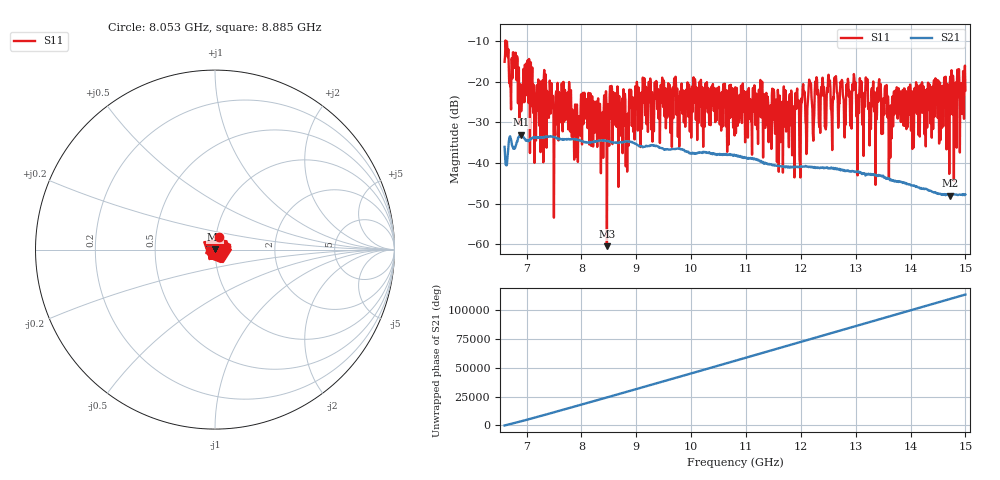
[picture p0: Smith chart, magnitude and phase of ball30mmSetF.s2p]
!Keysight Technologies,N5235B,MY61252044,A.15.00.15
!Date: Friday, January 20, 2023 18:57:33
!Correction: S11(Off)
!S21(Off)
!S12(Off)
!S22(Off)
!S2P File: Measurements: S11, S21, S12, S22:
# Hz S  RI  R 50
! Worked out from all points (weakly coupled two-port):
!   1001 points, 6.6 GHz to 15 GHz, reference 50 ohm
!   highest |S21| = -33.08 dB at 6.902 GHz (marker M1); lowest = -48.0 dB at 14.71 GHz (marker M2)
!   lowest |S11| = -60.4 dB at 8.465 GHz (marker M3), VSWR 1.00, Z = 50 + j0.0949 ohm
!   |S11| at or under -10 dB: start of sweep to 6.616532 GHz; 6.618 GHz to end of sweep
!   S12 and S22 are empty: the file has one direction only
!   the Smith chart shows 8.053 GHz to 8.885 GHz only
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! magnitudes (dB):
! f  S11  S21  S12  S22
! 6.6 GHz  -15.1  -36.0  -  -
! 6.701 GHz  -21.1  -33.4  -  -
! 6.793 GHz  -16.6  -36.2  -  -
! 6.902 GHz  -27.3  -33.1  -  -
! 7.012 GHz  -22.5  -34.5  -  -
! 7.163 GHz  -26.3  -33.8  -  -
! 8.003 GHz  -26.8  -34.6  -  -
! 8.465 GHz  -60.4  -34.6  -  -
! 8.557 GHz  -21.7  -34.9  -  -
! 8.818 GHz  -28.1  -34.7  -  -
! 9.137 GHz  -25.2  -36.0  -  -
! 9.406 GHz  -29.1  -36.0  -  -
! 10.8 GHz  -21.5  -38.2  -  -
! 11.3 GHz  -20.0  -39.8  -  -
! 11.63 GHz  -34.9  -40.8  -  -
! 12.2 GHz  -25.3  -40.9  -  -
! 12.98 GHz  -19.1  -42.0  -  -
! 13.05 GHz  -23.2  -42.0  -  -
! 13.55 GHz  -25.2  -43.7  -  -
! 13.61 GHz  -43.8  -43.8  -  -
! 14.71 GHz  -21.0  -48.0  -  -
! 15 GHz  -22.1  -47.8  -  -
